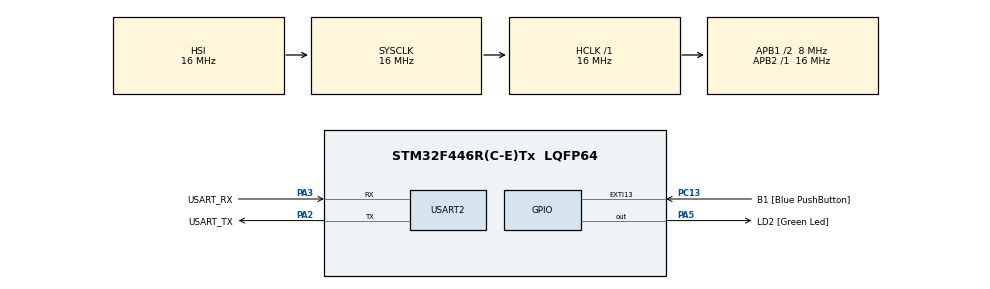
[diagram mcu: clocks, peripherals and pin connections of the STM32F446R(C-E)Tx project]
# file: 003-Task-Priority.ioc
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Mcu.Family=STM32F4
Mcu.Name=STM32F446R(C-E)Tx
Mcu.Package=LQFP64
NVIC.PriorityGroup=NVIC_PRIORITYGROUP_4
NVIC.TIM6_DAC_IRQn=true\:0\:0\:false\:false\:true\:false\:true\:true
NVIC.TimeBase=TIM6_DAC_IRQn
NVIC.TimeBaseIP=TIM6
PA13.GPIO_Label=TMS
PA13.Mode=Serial_Wire
PA13.Signal=SYS_JTMS-SWDIO
PA14.GPIO_Label=TCK
PA14.Mode=Serial_Wire
PA14.Signal=SYS_JTCK-SWCLK
PA2.GPIO_Label=USART_TX
PA2.Mode=Asynchronous
PA2.Signal=USART2_TX
PA3.GPIO_Label=USART_RX
PA3.Mode=Asynchronous
PA3.Signal=USART2_RX
PA5.GPIO_Label=LD2 [Green Led]
PA5.Signal=GPIO_Output
PB3.GPIO_Label=SWO
PB3.Signal=SYS_JTDO-SWO
PC13.GPIO_Label=B1 [Blue PushButton]
PC13.GPIO_ModeDefaultEXTI=GPIO_MODE_IT_FALLING
PC13.Signal=GPXTI13
PC14-OSC32_IN.Mode=LSE-External-Oscillator
PC14-OSC32_IN.Signal=RCC_OSC32_IN
PC15-OSC32_OUT.Mode=LSE-External-Oscillator
PC15-OSC32_OUT.Signal=RCC_OSC32_OUT
PH0-OSC_IN.Mode=HSE-External-Oscillator
PH0-OSC_IN.Signal=RCC_OSC_IN
PH1-OSC_OUT.Mode=HSE-External-Oscillator
PH1-OSC_OUT.Signal=RCC_OSC_OUT
ProjectManager.HeapSize=0x200
ProjectManager.StackSize=0x400
ProjectManager.TargetToolchain=STM32CubeIDE
RCC.48MHZClocksFreq_Value=84000000
RCC.AHBFreq_Value=16000000
RCC.APB1CLKDivider=RCC_HCLK_DIV2
RCC.APB1Freq_Value=8000000
RCC.APB1TimFreq_Value=16000000
RCC.APB2Freq_Value=16000000
RCC.APB2TimFreq_Value=16000000
RCC.CortexFreq_Value=16000000
RCC.FLatency-AdvancedSettings=FLASH_LATENCY_0
RCC.HCLKFreq_Value=16000000
RCC.HSE_VALUE=8000000
RCC.HSI_VALUE=16000000
RCC.PLLN=336
RCC.PLLP=RCC_PLLP_DIV4
RCC.SYSCLKFreq_VALUE=16000000
RCC.USBFreq_Value=168000000
RCC.VCOOutputFreq_Value=336000000
USART2.VirtualMode=VM_ASYNC
VP_SYS_VS_tim6.Mode=TIM6
board=NUCLEO-F446RE

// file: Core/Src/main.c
/* USER CODE BEGIN Header */
/**
  ******************************************************************************
  * @file           : main.c
  * @brief          : Main program body
  ******************************************************************************
  * @attention
  *
  * Copyright (c) 2023 STMicroelectronics.
  * All rights reserved.
  *
  * This software is licensed under terms that can be found in the LICENSE file
  * in the root directory of this software component.
  * If no LICENSE file comes with this software, it is provided AS-IS.
  *
  ******************************************************************************
  */
/* USER CODE END Header */
#include "main.h"

/* USER CODE BEGIN Includes */
#include <stdio.h>
#include <string.h>
#include "FreeRTOS.h"
#include "task.h"

/* USER CODE END Includes */

/* USER CODE BEGIN PD */
/* Used as a loop counter to create a very crude delay. */
#define mainDELAY_LOOP_COUNT		( 0xfffff)
#define TASK1_PRIO				( tskIDLE_PRIORITY + 1 )
#define TASK2_PRIO				( tskIDLE_PRIORITY + 2 )

/* USER CODE END PD */

UART_HandleTypeDef huart2;

void SystemClock_Config(void);
static void MX_GPIO_Init(void);
static void MX_USART2_UART_Init(void);
/* USER CODE BEGIN PFP */
/* The task function. */
void vTaskFunction( void *pvParameters );

/* Define the strings that will be passed in as the task parameters.  These are
defined const and off the stack to ensure they remain valid when the tasks are
executing. */
const char *pcTextForTask1 = "Task 1 is running\r\n";
const char *pcTextForTask2 = "Task 2 is running\r\n";
/* USER CODE END PFP */

/* USER CODE BEGIN 0 */
void vPrintString(const char *txt)
{
	HAL_UART_Transmit(&huart2, (uint8_t*)txt, strlen(txt), HAL_MAX_DELAY);
}

/* USER CODE END 0 */

int main(void)
{

  /* MCU Configuration--------------------------------------------------------*/

  /* Reset of all peripherals, Initializes the Flash interface and the Systick. */
  HAL_Init();

  /* Configure the system clock */
  SystemClock_Config();

  /* Initialize all configured peripherals */
  MX_GPIO_Init();
  MX_USART2_UART_Init();
  /* USER CODE BEGIN 2 */
	/* Create the first task at priority 1... */
	xTaskCreate( vTaskFunction, "Task 1", 1000, (void*)pcTextForTask1, TASK1_PRIO, NULL );

	/* ... and the second task at priority 2.  The priority is the second to
	last parameter. */
	xTaskCreate( vTaskFunction, "Task 2", 1000, (void*)pcTextForTask2, TASK2_PRIO, NULL );

	/* Start the scheduler to start the tasks executing. */
	vTaskStartScheduler();

	/* The following line should never be reached because vTaskStartScheduler()
	will only return if there was not enough FreeRTOS heap memory available to
	create the Idle and (if configured) Timer tasks.  Heap management, and
	techniques for trapping heap exhaustion, are described in the book text. */
	for( ;; );
	return 0;

  /* USER CODE END 2 */

  /* Infinite loop */
  while (1)
  {

  }
}

void SystemClock_Config(void)
{
  RCC_OscInitTypeDef RCC_OscInitStruct = {0};
  RCC_ClkInitTypeDef RCC_ClkInitStruct = {0};

  /** Configure the main internal regulator output voltage
  */
  __HAL_RCC_PWR_CLK_ENABLE();
  __HAL_PWR_VOLTAGESCALING_CONFIG(PWR_REGULATOR_VOLTAGE_SCALE3);

  /** Initializes the RCC Oscillators according to the specified parameters
  * in the RCC_OscInitTypeDef structure.
  */
  RCC_OscInitStruct.OscillatorType = RCC_OSCILLATORTYPE_HSI;
  RCC_OscInitStruct.HSIState = RCC_HSI_ON;
  RCC_OscInitStruct.HSICalibrationValue = RCC_HSICALIBRATION_DEFAULT;
  RCC_OscInitStruct.PLL.PLLState = RCC_PLL_NONE;
  if (HAL_RCC_OscConfig(&RCC_OscInitStruct) != HAL_OK)
  {
    Error_Handler();
  }

  /** Initializes the CPU, AHB and APB buses clocks
  */
  RCC_ClkInitStruct.ClockType = RCC_CLOCKTYPE_HCLK|RCC_CLOCKTYPE_SYSCLK
                              |RCC_CLOCKTYPE_PCLK1|RCC_CLOCKTYPE_PCLK2;
  RCC_ClkInitStruct.SYSCLKSource = RCC_SYSCLKSOURCE_HSI;
  RCC_ClkInitStruct.AHBCLKDivider = RCC_SYSCLK_DIV1;
  RCC_ClkInitStruct.APB1CLKDivider = RCC_HCLK_DIV2;
  RCC_ClkInitStruct.APB2CLKDivider = RCC_HCLK_DIV1;

  if (HAL_RCC_ClockConfig(&RCC_ClkInitStruct, FLASH_LATENCY_0) != HAL_OK)
  {
    Error_Handler();
  }
}

static void MX_USART2_UART_Init(void)
{

  huart2.Instance = USART2;
  huart2.Init.BaudRate = 115200;
  huart2.Init.WordLength = UART_WORDLENGTH_8B;
  huart2.Init.StopBits = UART_STOPBITS_1;
  huart2.Init.Parity = UART_PARITY_NONE;
  huart2.Init.Mode = UART_MODE_TX_RX;
  huart2.Init.HwFlowCtl = UART_HWCONTROL_NONE;
  huart2.Init.OverSampling = UART_OVERSAMPLING_16;
  if (HAL_UART_Init(&huart2) != HAL_OK)
  {
    Error_Handler();
  }

}

static void MX_GPIO_Init(void)
{
  GPIO_InitTypeDef GPIO_InitStruct = {0};

  /* GPIO Ports Clock Enable */
  __HAL_RCC_GPIOC_CLK_ENABLE();
  __HAL_RCC_GPIOH_CLK_ENABLE();
  __HAL_RCC_GPIOA_CLK_ENABLE();
  __HAL_RCC_GPIOB_CLK_ENABLE();

  /*Configure GPIO pin Output Level */
  HAL_GPIO_WritePin(LD2_GPIO_Port, LD2_Pin, GPIO_PIN_RESET);

  /*Configure GPIO pin : B1_Pin */
  GPIO_InitStruct.Pin = B1_Pin;
  GPIO_InitStruct.Mode = GPIO_MODE_IT_FALLING;
  GPIO_InitStruct.Pull = GPIO_NOPULL;
  HAL_GPIO_Init(B1_GPIO_Port, &GPIO_InitStruct);

  /*Configure GPIO pin : LD2_Pin */
  GPIO_InitStruct.Pin = LD2_Pin;
  GPIO_InitStruct.Mode = GPIO_MODE_OUTPUT_PP;
  GPIO_InitStruct.Pull = GPIO_NOPULL;
  GPIO_InitStruct.Speed = GPIO_SPEED_FREQ_LOW;
  HAL_GPIO_Init(LD2_GPIO_Port, &GPIO_InitStruct);

}

/* USER CODE BEGIN 4 */
void vTaskFunction( void *pvParameters )
{
	char *pcTaskName;
	volatile uint32_t ul;

	/* The string to print out is passed in via the parameter.  Cast this to a
	character pointer. */
	pcTaskName = ( char * ) pvParameters;

	/* As per most tasks, this task is implemented in an infinite loop. */
	for( ;; )
	{
		/* Print out the name of this task. */
		vPrintString( pcTaskName );

		/* Delay for a period. */
		for( ul = 0; ul < mainDELAY_LOOP_COUNT; ul++ )
		{
			/* This loop is just a very crude delay implementation.  There is
			nothing to do in here.  Later exercises will replace this crude
			loop with a proper delay/sleep function. */
		}
	}
}

/* USER CODE END 4 */

void HAL_TIM_PeriodElapsedCallback(TIM_HandleTypeDef *htim)
{
  if (htim->Instance == TIM6) {
    HAL_IncTick();
  }
}

void Error_Handler(void)
{
  __disable_irq();
  while (1)
  {
  }
}
